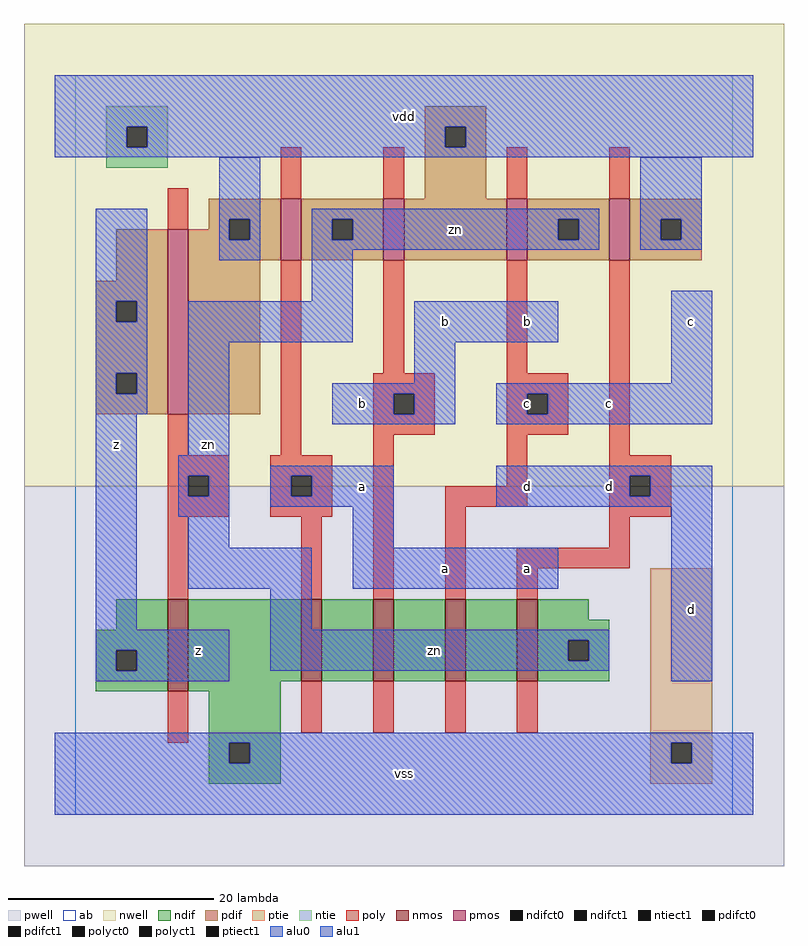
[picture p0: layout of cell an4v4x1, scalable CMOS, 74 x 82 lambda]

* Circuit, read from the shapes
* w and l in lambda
.subckt an4v4x1 a b c d vdd vss z zn
M1 vss zn z vss nfet w=9 l=2
M2 n1 a vss vss nfet w=8 l=2
M3 n2 b n1 vss nfet w=8 l=2
M4 n3 c n2 vss nfet w=8 l=2
M5 zn d n3 vss nfet w=8 l=2
M6 vdd zn z vdd pfet w=18 l=2
M7 zn a vdd vdd pfet w=6 l=2
M8 vdd b zn vdd pfet w=6 l=2
M9 zn c vdd vdd pfet w=6 l=2
M10 vdd d zn vdd pfet w=6 l=2
.ends

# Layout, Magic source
magic
tech scmos
<< ab >>
rect 0 0 64 72
<< nwell >>
rect -5 32 69 77
<< pwell >>
rect -5 -5 69 32
<< poly >>
rect 9 57 11 61
rect 20 60 22 65
rect 30 60 32 65
rect 42 60 44 65
rect 52 60 54 65
rect 9 35 11 39
rect 20 35 22 54
rect 30 43 32 54
rect 42 43 44 54
rect 29 41 35 43
rect 29 39 31 41
rect 33 39 35 41
rect 29 37 35 39
rect 42 41 48 43
rect 42 39 44 41
rect 46 39 48 41
rect 42 37 48 39
rect 9 33 15 35
rect 9 31 11 33
rect 13 31 15 33
rect 9 29 15 31
rect 19 33 25 35
rect 19 31 21 33
rect 23 31 25 33
rect 19 29 25 31
rect 9 21 11 29
rect 22 21 24 29
rect 29 21 31 37
rect 42 32 44 37
rect 36 30 44 32
rect 52 35 54 54
rect 52 33 58 35
rect 52 31 54 33
rect 56 31 58 33
rect 36 21 38 30
rect 52 29 58 31
rect 52 26 54 29
rect 43 24 54 26
rect 43 21 45 24
rect 9 7 11 12
rect 22 8 24 13
rect 29 8 31 13
rect 36 8 38 13
rect 43 8 45 13
<< ndif >>
rect 4 18 9 21
rect 2 16 9 18
rect 2 14 4 16
rect 6 14 9 16
rect 2 12 9 14
rect 11 13 22 21
rect 24 13 29 21
rect 31 13 36 21
rect 38 13 43 21
rect 45 19 50 21
rect 45 17 52 19
rect 45 15 48 17
rect 50 15 52 17
rect 45 13 52 15
rect 11 12 20 13
rect 13 7 20 12
rect 13 5 15 7
rect 17 5 20 7
rect 13 3 20 5
<< pdif >>
rect 34 67 40 69
rect 34 65 36 67
rect 38 65 40 67
rect 34 60 40 65
rect 13 58 20 60
rect 13 57 15 58
rect 4 52 9 57
rect 2 50 9 52
rect 2 48 4 50
rect 6 48 9 50
rect 2 43 9 48
rect 2 41 4 43
rect 6 41 9 43
rect 2 39 9 41
rect 11 56 15 57
rect 17 56 20 58
rect 11 54 20 56
rect 22 58 30 60
rect 22 56 25 58
rect 27 56 30 58
rect 22 54 30 56
rect 32 54 42 60
rect 44 58 52 60
rect 44 56 47 58
rect 49 56 52 58
rect 44 54 52 56
rect 54 58 61 60
rect 54 56 57 58
rect 59 56 61 58
rect 54 54 61 56
rect 11 39 18 54
<< alu1 >>
rect -2 67 66 72
rect -2 65 5 67
rect 7 65 36 67
rect 38 65 66 67
rect -2 64 66 65
rect 2 50 7 59
rect 2 48 4 50
rect 6 48 7 50
rect 2 43 7 48
rect 2 41 4 43
rect 6 41 7 43
rect 2 39 7 41
rect 33 46 47 50
rect 2 18 6 39
rect 33 42 37 46
rect 58 42 62 51
rect 25 41 37 42
rect 25 39 31 41
rect 33 39 37 41
rect 25 38 37 39
rect 41 41 62 42
rect 41 39 44 41
rect 46 39 62 41
rect 41 38 62 39
rect 19 33 31 34
rect 19 31 21 33
rect 23 31 31 33
rect 19 30 31 31
rect 41 33 62 34
rect 41 31 54 33
rect 56 31 62 33
rect 41 30 62 31
rect 27 26 31 30
rect 27 22 47 26
rect 2 16 15 18
rect 2 14 4 16
rect 6 14 15 16
rect 2 13 15 14
rect 58 13 62 30
rect -2 7 66 8
rect -2 5 15 7
rect 17 5 58 7
rect 60 5 66 7
rect -2 0 66 5
<< ptie >>
rect 56 7 62 24
rect 56 5 58 7
rect 60 5 62 7
rect 56 3 62 5
<< ntie >>
rect 3 67 9 69
rect 3 65 5 67
rect 7 65 9 67
rect 3 63 9 65
<< nmos >>
rect 9 12 11 21
rect 22 13 24 21
rect 29 13 31 21
rect 36 13 38 21
rect 43 13 45 21
<< pmos >>
rect 9 39 11 57
rect 20 54 22 60
rect 30 54 32 60
rect 42 54 44 60
rect 52 54 54 60
<< polyct0 >>
rect 11 31 13 33
<< polyct1 >>
rect 31 39 33 41
rect 44 39 46 41
rect 21 31 23 33
rect 54 31 56 33
<< ndifct0 >>
rect 48 15 50 17
<< ndifct1 >>
rect 4 14 6 16
rect 15 5 17 7
<< ntiect1 >>
rect 5 65 7 67
<< ptiect1 >>
rect 58 5 60 7
<< pdifct0 >>
rect 15 56 17 58
rect 25 56 27 58
rect 47 56 49 58
rect 57 56 59 58
<< pdifct1 >>
rect 36 65 38 67
rect 4 48 6 50
rect 4 41 6 43
<< alu0 >>
rect 14 58 18 64
rect 14 56 15 58
rect 17 56 18 58
rect 14 54 18 56
rect 23 58 51 59
rect 23 56 25 58
rect 27 56 47 58
rect 49 56 51 58
rect 23 55 51 56
rect 55 58 61 64
rect 55 56 57 58
rect 59 56 61 58
rect 55 55 61 56
rect 23 50 27 55
rect 11 46 27 50
rect 11 35 15 46
rect 10 33 15 35
rect 10 31 11 33
rect 13 31 15 33
rect 10 29 15 31
rect 11 26 15 29
rect 11 22 23 26
rect 19 18 23 22
rect 19 17 52 18
rect 19 15 48 17
rect 50 15 52 17
rect 19 14 52 15
<< labels >>
rlabel alu0 13 36 13 36 6 zn
rlabel alu0 35 16 35 16 6 zn
rlabel alu0 37 57 37 57 6 zn
rlabel alu1 12 16 12 16 6 z
rlabel alu1 4 36 4 36 6 z
rlabel alu1 28 32 28 32 6 a
rlabel alu1 28 40 28 40 6 b
rlabel alu1 32 4 32 4 6 vss
rlabel alu1 36 24 36 24 6 a
rlabel alu1 44 32 44 32 6 d
rlabel alu1 44 24 44 24 6 a
rlabel alu1 44 40 44 40 6 c
rlabel alu1 36 48 36 48 6 b
rlabel alu1 44 48 44 48 6 b
rlabel alu1 32 68 32 68 6 vdd
rlabel alu1 60 20 60 20 6 d
rlabel alu1 52 32 52 32 6 d
rlabel alu1 52 40 52 40 6 c
rlabel alu1 60 48 60 48 6 c
<< end >>
